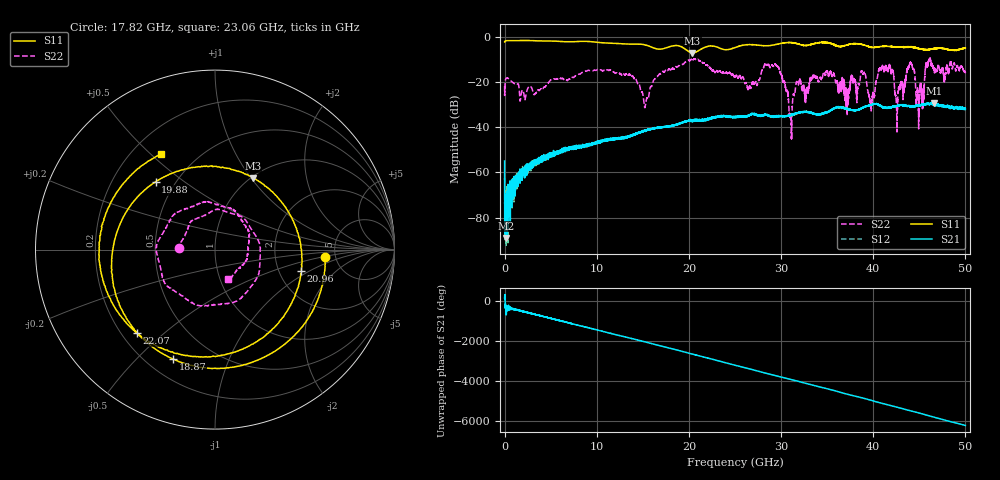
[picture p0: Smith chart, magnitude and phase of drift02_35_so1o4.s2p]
!Created with skrf (http://scikit-rf.org).
# Hz S RI R 50.0
!freq ReS11 ImS11 ReS21 ImS21 ReS12 ImS12 ReS22 ImS22
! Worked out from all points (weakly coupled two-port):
!   10001 points, 300 kHz to 50 GHz, reference 50 ohm
!   highest |S21| = -29.12 dB at 46.62 GHz (marker M1); lowest = -89.1 dB at 170.3 MHz (marker M2)
!   lowest |S11| = -6.9 dB at 20.38 GHz (marker M3), VSWR 2.63, Z = 51.3 + j51 ohm
!   |S11| at or under -10 dB: nowhere
!   |S22| runs from -45.1 to -9.1 dB; largest |S21 - S12| = 0.0032
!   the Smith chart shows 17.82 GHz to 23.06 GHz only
!   S11 on the Smith chart (normalised r, x): 17.82 GHz: 4.14, -0.53; 18.87 GHz: 0.30, -0.65; 19.88 GHz: 0.39, +0.39; 20.96 GHz: 2.64, -0.84; 22.07 GHz: 0.26, -0.41; 23.06 GHz: 0.32, +0.54
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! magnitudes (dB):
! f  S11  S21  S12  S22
! 300 kHz  -2.0  -54.9  -62.4  -21.6
! 170.3 MHz  -1.4  -89.1  -73.4  -18.2
! 8.335 GHz  -1.7  -48.6  -48.5  -15.7
! 15.32 GHz  -3.4  -41.2  -41.2  -29.0
! 16.67 GHz  -5.2  -40.0  -40.2  -16.9
! 17.82 GHz  -4.2  -39.3  -39.3  -14.1
! 18.87 GHz  -3.7  -38.3  -38.2  -12.6
! 19.88 GHz  -6.0  -37.1  -37.1  -10.2
! 20.38 GHz  -6.9  -36.8  -36.9  -9.9
! 20.96 GHz  -6.1  -36.7  -37.0  -9.7
! 22.07 GHz  -3.9  -36.2  -36.1  -12.8
! 23.06 GHz  -4.3  -35.1  -35.3  -15.0
! 25 GHz  -4.5  -35.5  -35.3  -17.5
! 29.5 GHz  -3.0  -35.0  -34.9  -12.6
! 31.03 GHz  -2.3  -34.4  -34.8  -35.8
! 33.34 GHz  -3.1  -33.6  -33.3  -18.5
! 38.91 GHz  -3.2  -31.1  -31.2  -16.2
! 39.78 GHz  -4.4  -30.0  -29.9  -32.7
! 41.67 GHz  -4.0  -31.1  -31.1  -13.1
! 42.56 GHz  -4.3  -30.4  -30.3  -37.2
! 46.62 GHz  -4.9  -29.1  -29.9  -14.7
! 50 GHz  -4.6  -31.7  -32.2  -15.5
